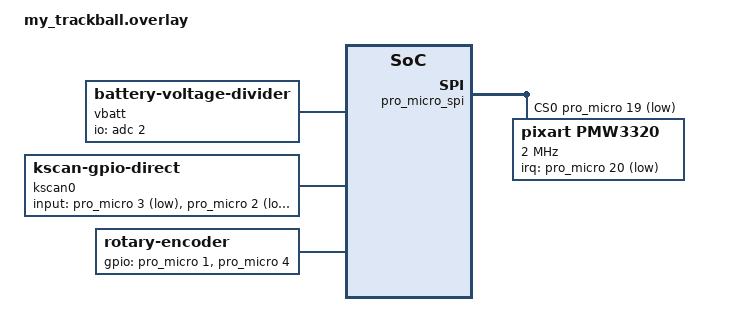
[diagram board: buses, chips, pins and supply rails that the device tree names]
#include <dt-bindings/zmk/matrix_transform.h>

/ {
    chosen {
        zmk,kscan = &kscan0;
        zmk,matrix_transform = &default_transform;
        zmk,battery = &vbatt;
    };

    vbatt: vbatt {
        compatible = "zmk,battery-voltage-divider";
        io-channels = <&adc 2>;
        output-ohms = <2000000>;
        full-ohms = <(2000000 + 2000000)>;
    };

    /* ボタン（Direct GPIO）を1行10列のキーマトリクスとして扱う定義 */
    kscan0: kscan_0 {
        compatible = "zmk,kscan-gpio-direct";
        wakeup-source;
        input-gpios
            = <&pro_micro 3 (GPIO_ACTIVE_LOW | GPIO_PULL_UP)>  // 0: 右矢印 (D3)
            , <&pro_micro 2 (GPIO_ACTIVE_LOW | GPIO_PULL_UP)>  // 1: ホイール上 (D2)
            , <&pro_micro 0 (GPIO_ACTIVE_LOW | GPIO_PULL_UP)>  // 2: ホイール中 (D0)
            , <&pro_micro 7 (GPIO_ACTIVE_LOW | GPIO_PULL_UP)>  // 3: 左矢印 (D7)
            , <&pro_micro 6 (GPIO_ACTIVE_LOW | GPIO_PULL_UP)>  // 4: ホイール下 (D6)
            , <&pro_micro 5 (GPIO_ACTIVE_LOW | GPIO_PULL_UP)>  // 5: Lボタン (D5)
            // ※残り4ボタン（R, Fn1〜3）のピンが決まったらここに追加します
            ;
    };

    default_transform: keymap_transform_0 {
        compatible = "zmk,matrix-transform";
        columns = <6>; // 現在のボタン数（全10個にする場合は10に変更）
        rows = <1>;
        map = <RC(0,0) RC(0,1) RC(0,2) RC(0,3) RC(0,4) RC(0,5)>;
    };

    /* ロータリーエンコーダー */
    encoder: encoder {
        compatible = "rotary-encoder";
        status = "okay";
        gpios = <&pro_micro 1 (GPIO_ACTIVE_HIGH | GPIO_PULL_UP)>,
                <&pro_micro 4 (GPIO_ACTIVE_HIGH | GPIO_PULL_UP)>;
        steps = <24>;
    };

    sensors: sensors {
        compatible = "zmk,keymap-sensors";
        sensors = <&encoder>;
    };
};

/* SPI・PMW3320センサー定義 */
&pro_micro_spi {
    status = "okay";
    cs-gpios = <&pro_micro 19 GPIO_ACTIVE_LOW>;

    pmw3320: pmw3320@0 {
        compatible = "pixart,pmw3320";
        reg = <0>;
        spi-max-frequency = <2000000>;
        irq-gpios = <&pro_micro 20 (GPIO_ACTIVE_LOW | GPIO_PULL_UP)>;
        status = "okay";
    };
};

/ {
    trackball_listener {
        compatible = "zmk,input-listener";
        device = <&pmw3320>;
    };
};
